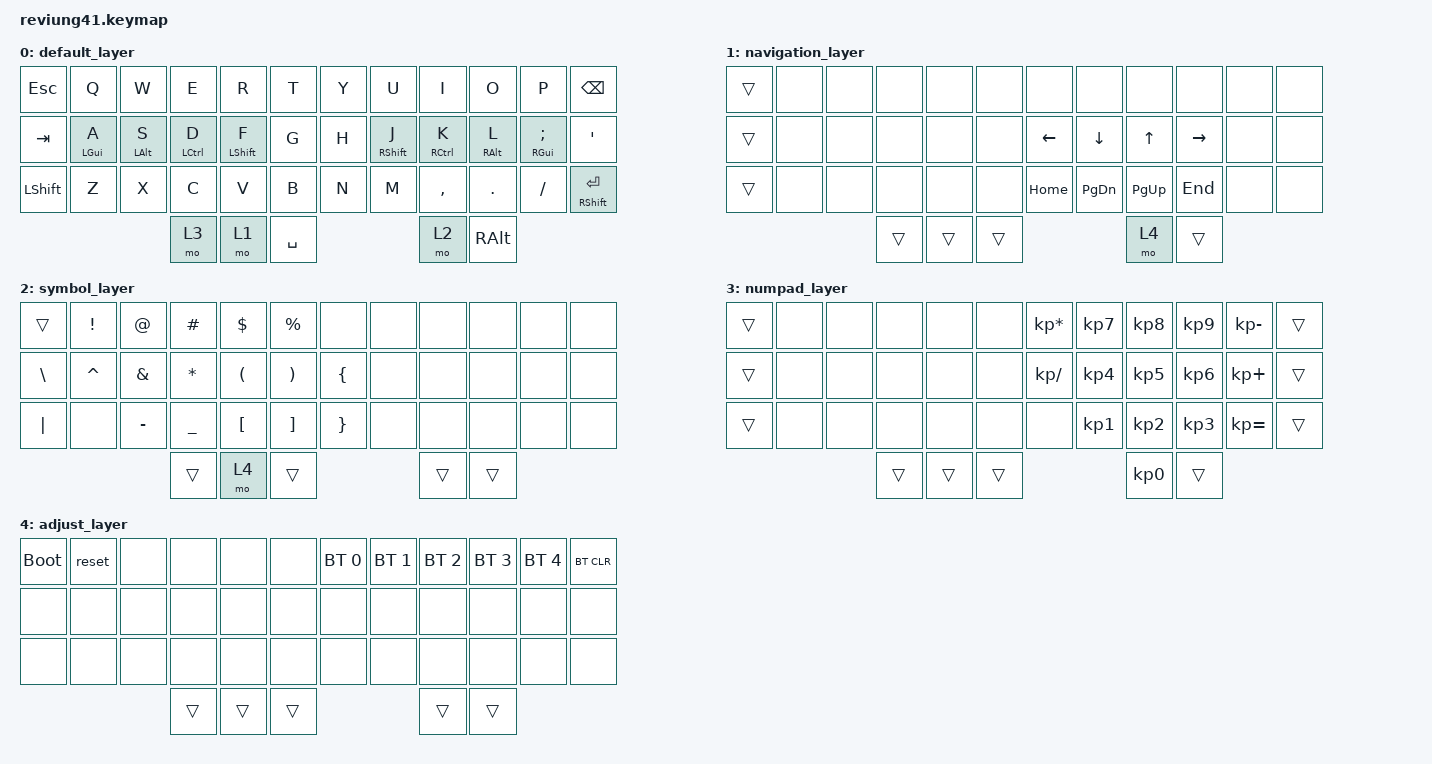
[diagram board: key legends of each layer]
/*
 * Copyright (c) 2020 The ZMK Contributors
 *
 * SPDX-License-Identifier: MIT
 */

#include <behaviors.dtsi>
#include <dt-bindings/zmk/keys.h>
#include <dt-bindings/zmk/bt.h>

/ {
    behaviors {
        hm: homerow_mods {
            compatible = "zmk,behavior-hold-tap";
            label = "HOMEROW_MODS";
            #binding-cells = <2>;
            tapping-term-ms = <200>;
            quick_tap_ms = <0>;
            flavor = "tap-preferred";
            bindings = <&kp>, <&kp>;
        };
    };
        keymap {
                compatible = "zmk,keymap";

                default_layer {
                        bindings = <
   &kp ESC   &kp Q      &kp W      &kp E       &kp R       &kp T   &kp Y &kp U        &kp I       &kp O      &kp P         &kp BSPC
   &kp TAB   &hm LGUI A &hm LALT S &hm LCTRL D &hm LSHFT F &kp G   &kp H &hm RSHFT J  &hm RCTRL K &hm RALT L &hm RGUI SEMI &kp SQT
   &kp LSHFT &kp Z      &kp X      &kp C       &kp V       &kp B   &kp N &kp M        &kp COMMA   &kp DOT    &kp FSLH      &hm RSHFT RET
                                   &mo 3      &mo 1       &kp SPACE                  &mo 2       &kp RALT
                        >;
                };

                navigation_layer {
                        bindings = <
   &trans &none &none &none &none &none &none    &none     &none     &none     &none &none
   &trans &none &none &none &none &none &kp LEFT &kp DOWN  &kp UP    &kp RIGHT &none &none
   &trans &none &none &none &none &none &kp HOME &kp PG_DN &kp PG_UP &kp END   &none &none
                             &trans   &trans     &trans     &mo 4 &trans
                        >;
                };

                symbol_layer {
                        bindings = <
   &trans    &kp EXCL  &kp AT    &kp HASH  &kp DLLR &kp PRCNT         &none    &none &none &none &none &none
   &kp BSLH  &kp CARET &kp AMPS  &kp STAR  &kp LPAR &kp RPAR          &kp LBRC &none &none &none &none &none
   &kp PIPE  &none     &kp MINUS &kp UNDER &kp LBKT &kp RBKT          &kp RBRC &none &none &none &none &none
                                           &trans   &mo 4     &trans  &trans   &trans
                        >;
                };

                numpad_layer {
                        bindings = <
   &trans &none &none &none &none  &none               &kp KP_MULTIPLY &kp KP_N7 &kp KP_N8 &kp KP_N9 &kp KP_MINUS &trans
   &trans &none &none &none &none  &none               &kp KP_DIVIDE   &kp KP_N4 &kp KP_N5 &kp KP_N6 &kp KP_PLUS  &trans
   &trans &none &none &none &none  &none               &none           &kp KP_N1 &kp KP_N2 &kp KP_N3 &kp KP_EQUAL &trans
                            &trans &trans    &trans    &kp KP_N0       &trans
                        >;
                };

                adjust_layer {
                        bindings = <
    &bootloader &reset &none &none &none &none &bt BT_SEL 0 &bt BT_SEL 1 &bt BT_SEL 2 &bt BT_SEL 3 &bt BT_SEL 4 &bt BT_CLR
    &none       &none  &none &none &none &none &none        &none        &none        &none        &none        &none
    &none       &none  &none &none &none &none &none        &none        &none        &none        &none        &none
    &trans      &trans       &trans        &trans      &trans
                        >;
                };
        };
};
